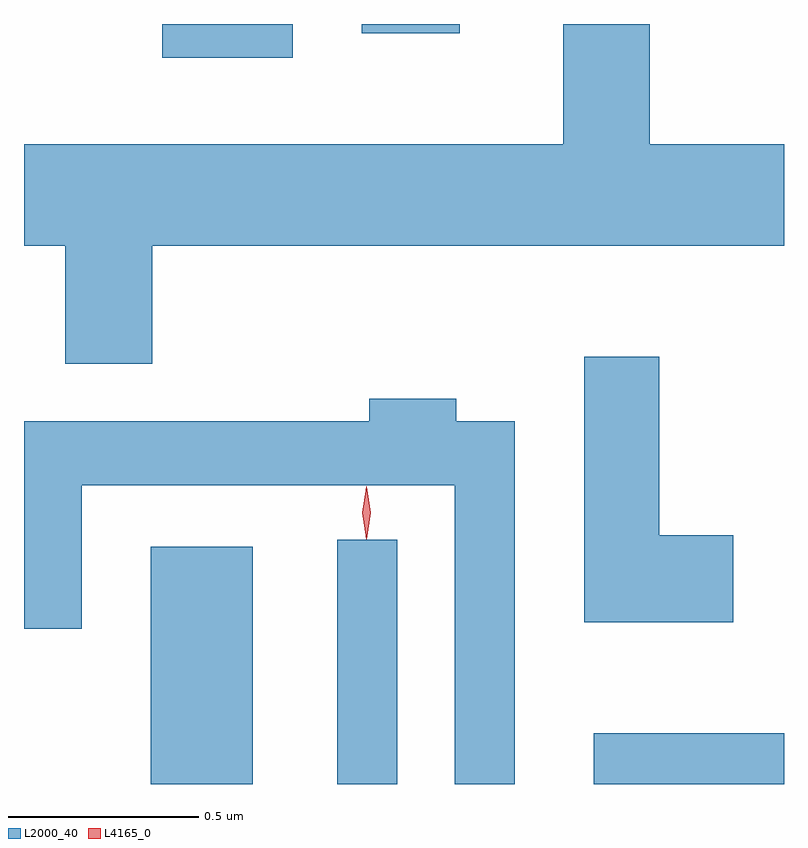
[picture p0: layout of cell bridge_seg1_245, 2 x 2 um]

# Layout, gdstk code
import gdstk
lib = gdstk.Library(unit=1e-6, precision=1e-09)
def R(c, l, rs):  # rectangles x0, y0, x1, y1
    for r in rs: c.add(gdstk.rectangle(r[:2], r[2:], *l))
def P(c, l, *ps):  # polygons
    for p in ps: c.add(gdstk.Polygon(p, *l))
L2000_40 = (2000, 40)
L4165_0 = (4165, 0)

bridge_seg1_245 = lib.new_cell('bridge_seg1_245')
R(bridge_seg1_245, L2000_40, [(837.606,880.4,837.874,881.024), (838.096,880.4,838.254,881.043), (838.771,880.4,839.272,880.534), (837.636,882.311,837.979,882.4), (838.161,882.376,838.419,882.4)])
P(bridge_seg1_245, L2000_40, [(837.609,881.816),(839.272,881.816),(839.272,882.084),(838.919,882.084),(838.919,882.4),(838.691,882.4),(838.691,882.084),(837.272,882.084),(837.272,881.816),(837.381,881.816),(837.381,881.506),(837.609,881.506)],
  [(839.139,881.054),(838.944,881.054),(838.944,881.524),(838.746,881.524),(838.746,880.826),(839.139,880.826)],
  [(838.564,881.354),(838.409,881.354),(838.409,881.414),(838.181,881.414),(838.181,881.354),(837.272,881.354),(837.272,880.808),(837.424,880.808),(837.424,881.186),(838.406,881.186),(838.406,880.4),(838.564,880.4)])
P(bridge_seg1_245, L4165_0, [(838.173,881.044),(838.164,881.114),(838.173,881.182),(838.174,881.183),(838.174,881.182),(838.184,881.114),(838.174,881.044),(838.174,881.044)],
  [(838.172,881.047),(838.172,881.047),(838.162,881.114),(838.172,881.18),(838.172,881.18),(838.172,881.18),(838.182,881.114),(838.172,881.047)])

lib.write_gds('bridge_seg1_245.gds')
